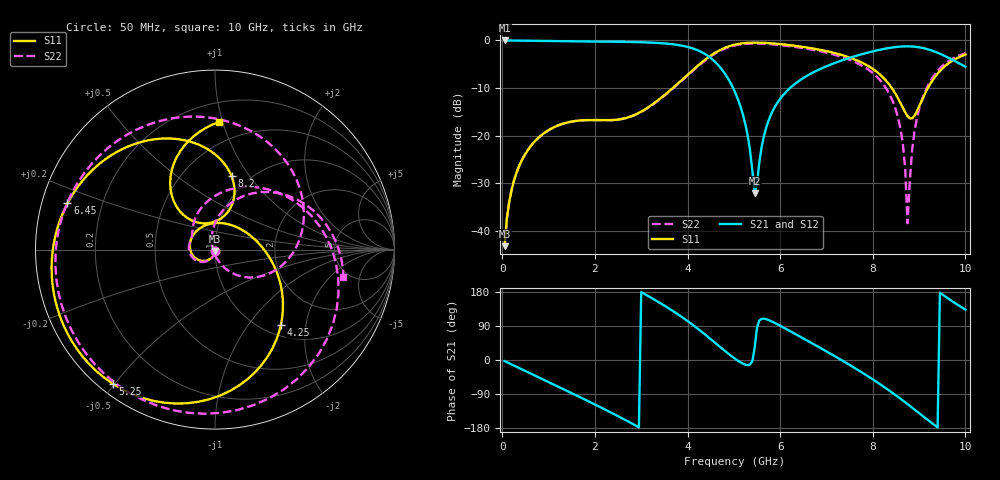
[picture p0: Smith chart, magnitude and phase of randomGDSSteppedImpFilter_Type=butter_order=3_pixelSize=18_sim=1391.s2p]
! freq	dB(S11)	phase(S11)	dB(S12)	phase(S12)
!  dB(S21)	phase(S21)	dB(S22)	phase(S22)
!S-par simulation data
#  GHz  S  DB  R 50
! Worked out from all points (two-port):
!   200 points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, 50 MHz to 10 GHz, reference 50 ohm
!   highest |S21| = -0.01 dB at 50 MHz (marker M1); lowest = -32.1 dB at 5.45 GHz (marker M2)
!   |S21| within 3 dB of the highest: start of sweep to 4.402 GHz; 7.723 GHz to 9.5 GHz (1.777 GHz wide, 20.6 % of centre)
!   lowest |S11| = -43.2 dB at 50 MHz (marker M3), VSWR 1.01, Z = 50 - j0.693 ohm
!   |S11| at or under -10 dB: start of sweep to 3.68 GHz; 8.412 GHz to 9.19 GHz (778.9 MHz wide, 8.85 % of centre)
!   |S22| runs from -43.2 to -0.6 dB; largest |S21 - S12| = 0
!   S11 on the Smith chart (normalised r, x): 50 MHz: 1.00, -0.01; 4.25 GHz: 1.20, -1.46; 5.25 GHz: 0.04, -0.50; 6.45 GHz: 0.08, +0.15; 8.2 GHz: 0.83, +0.83; 10 GHz: 0.34, +0.97
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0.05  -43.18 -90.9  -0.01 -3.0  -0.01 -3.0  -43.19 -91.2
0.2  -31.40 -101.9  -0.02 -11.8  -0.02 -11.8  -31.39 -100.8
0.5  -23.78 -121.1  -0.06 -29.2  -0.06 -29.2  -23.77 -118.3
1.75  -16.75 155.7  -0.21 -102.3  -0.21 -102.3  -16.74 177.7
2.65  -16.34 75.3  -0.30 -157.8  -0.30 -157.8  -16.35 146.6
3.4  -12.28 9.0  -0.56 151.0  -0.56 151.0  -12.39 109.9
4.25  -5.08 -48.8  -2.20 79.9  -2.20 79.9  -5.24 24.6
4.65  -2.28 -79.9  -5.05 39.8  -5.05 39.8  -2.45 -26.0
5.05  -0.82 -112.2  -11.42 1.3  -11.42 1.3  -0.98 -76.1
5.25  -0.54 -127.2  -17.65 -12.5  -17.65 -12.5  -0.71 -99.2
5.45  -0.46 -141.0  -32.11 32.8  -32.11 32.8  -0.64 -120.9
5.8  -0.60 -162.6  -15.61 102.8  -15.61 102.8  -0.79 -155.7
6.45  -1.30 162.6  -8.21 60.3  -8.21 60.3  -1.55 145.2
6.7  -1.68 150.1  -6.78 43.3  -6.78 43.3  -1.96 122.9
7.55  -3.76 108.5  -3.50 -16.6  -3.50 -16.6  -4.25 45.3
8.2  -7.55 77.3  -1.85 -67.4  -1.85 -67.4  -8.85 -17.9
8.35  -9.18 71.8  -1.58 -80.1  -1.58 -80.1  -11.10 -33.4
8.65  -14.14 74.3  -1.26 -106.9  -1.26 -106.9  -21.75 -69.4
8.75  -15.90 86.4  -1.24 -116.3  -1.24 -116.3  -38.37 -129.3
8.85  -16.35 105.8  -1.27 -125.8  -1.27 -125.8  -22.93 104.7
9.05  -12.78 130.8  -1.53 -144.9  -1.53 -144.9  -12.83 77.9
10  -2.97 88.4  -5.50 133.0  -5.50 133.0  -2.71 -12.2
